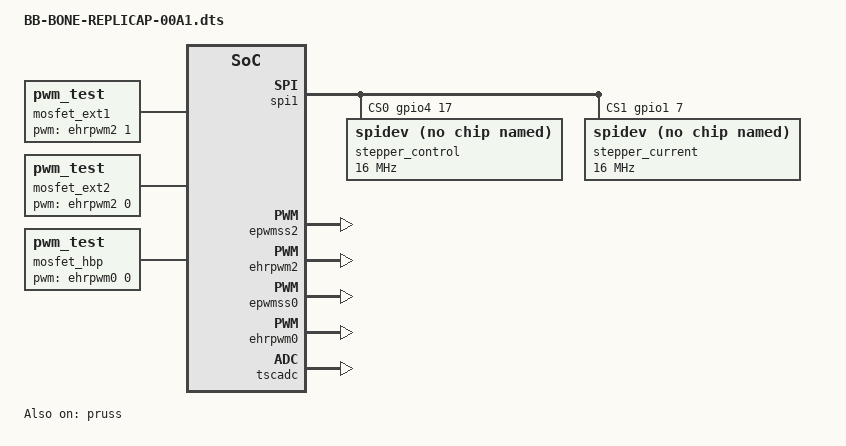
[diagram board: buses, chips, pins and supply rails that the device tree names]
/*
 * Copyright (C) 2013 Intelligent Agent AS	<elias@iagent.no>
 *
 * This program is free software; you can redistribute it and/or modify
 * it under the terms of the GNU General Public License version 2 as
 * published by the Free Software Foundation.
 */
/dts-v1/;
/plugin/;

/ {
	compatible = "ti,beaglebone", "ti,beaglebone-black";

	/* identification */
	part-number = "BB-BONE-REPLICAP";
	version = "00A1";

	fragment@0 {
		target = <&am33xx_pinmux>;
		__overlay__ {
			// 	  From Cameon.net
			//    Bit 5: 1 - Input, 		0 - Output
			//    Bit 4: 1 - Pull up, 		0 - Pull down
			//    Bit 3: 1 - Pull disabled, 0 - Pull enabled
			//    Bit 2: - Mode
			//    Bit 1: - Mode
			//    Bit 0: - Mode
			bone_replicape_spi1_pins: pinmux_replicape_spi1_pins {
				pinctrl-single,pins = <
					0x190 0x13	/* P9_31 = mcasp0_aclkx.spi1_sclk				 , OUTPUT_PULLUP | MODE3 */
					0x194 0x33	/* P9_29 = mcasp0_fsx.spi1_d0					 , INPUT_PULLUP  | MODE3 */
					0x198 0x13	/* P9_30 = mcasp0_axr0.spi1_d1					 , OUTPUT_PULLUP | MODE3 */
					0x19c 0x13	/* P9_28 = mcasp0_ahclkr.spi1_cs0				 , OUTPUT_PULLUP | MODE3 */
					0x164 0x12  /* P9_42 = GPIO0_7 =  eCAP0_in_PWM0_out.gpio0[7] , OUTPUT_PULLUP | MODE2 */
				>;
			};
			pwm_mosfet_ext1_pins: pinmux_pwm_mosfet_ext1_pins {
				pinctrl-single,pins = <
					0x024  0x4		/* P8_13 = gpmc_ad9  = ehrpwm2B = Heater_ext1 | MODE 4 */
				>;
			};
			pwm_mosfet_ext2_pins: pinmux_pwm_mosfet_ext2_pins {
				pinctrl-single,pins = <
					0x020  0x4      /* P8_19 = gpmc_ad8  = ehrpwm2A = Heater_ext2 | MODE 4 */
				>;
			};
			pruicss_stepper_pins: pinmux_pruicss_stepper_pins{
				pinctrl-single,pins = <
					0x018 0x07 /* P8_3  = DIR_EXT_2  = GPIO1_6    gpmc_ad6.gpio1[6]      	*/
					0x01C 0x07 /* P8_4  = DIR_EXT_1  = GPIO1_7    gpmc_ad7.gpio1[7]      	*/
					0x008 0x07 /* P8_5  = DIR_Z   	 = GPIO1_2    gpmc_ad2.gpio1[2]      	*/
					0x034 0x07 /* P8_11 = DIR_X   	 = GPIO1_13   gpmc_ad13.gpio1[13]    	*/
					0x030 0x07 /* P8_12 = STEP_X  	 = GPIO1_12   gpmc_ad12.gpio1[12]    	*/
					0x038 0x07 /* P8_16 = STEP_EXT_2 = GPIO1_14   gpmc_ad14.gpio1[14]    	*/
					0x084 0x07 /* P8_20 = STEP_Y	 = GPIO1_31   gpmc_csn2.gpio1[31]    	*/
					0x080 0x07 /* P8_21 = DIR_Y		 = GPIO1_30   gpmc_csn1.gpio1[30]    	*/
					0x004 0x07 /* P8_24 = STEP_Z 	 = GPIO1_1    gpmc_ad1 .gpio1[1]	 	*/
					0x1AC 0x07 /* P9_25	= STEP_EXT_1 = GPIO3_21	  mcasp0_ahclkx.gpio3[21]	*/
				>;
			};

			pwm_mosfet_hbp_pins: pinmux_pwm_mosfet_hbp_pins {
				pinctrl-single,pins = <
					0x150  0x3		/* P9_14 = spi0_sclk = ehrpwm0A = Heater_HBP  | MODE 3 */
				>;
			};

			pruicss_fault_pins: pinmux_pruicss_fault_pins{
				pinctrl-single,pins = <
					0x094 0x37 // P8_8  = FAULT_EXT_2 = GPIO2_2    gpmc_oen_ren.gpio2[3]
					0x098 0x37 // P8_10 = FAULT_X     = GPIO2_4    gpmc_wen.gpio2[4]
				>;
			};
		};
	};

	fragment@1 {
		target = <&spi1>;
		__overlay__ {
			#address-cells 	= <1>;
			#size-cells 	= <0>;
			status			= "okay";
			pinctrl-names	= "default";
			pinctrl-0		= <&bone_replicape_spi1_pins>;
			cs-gpios 		= <&gpio4 17 0>, <&gpio1 7 0>;

			stepper_control{
				#address-cells 	  = <1>;
				#size-cells 	  = <0>;
				compatible 		  = "spidev";
				reg 			  = <0>;
				spi-max-frequency = <16000000>;
				spi-cpha;		  // Stepper control has mode 1 (CPOL = 0, CPHA = 1)
			};

			stepper_current{
				#address-cells 	  = <1>;
				#size-cells 	  = <0>;
				compatible 		  = "spidev";
				reg 			  = <1>;
				spi-max-frequency = <16000000>;
								  // Stepper current has mode 0 (CPOL = 0, CPHA = 0)
			};
		};
	};
	fragment@2 {
		target = <&epwmss2>;
		__overlay__ {
			status = "okay";
		};
	};

	fragment@3 {
		target = <&ehrpwm2>;
		__overlay__ {
			status = "okay";
		};
	};

	fragment@4 {
		target = <&epwmss0>;
		__overlay__ {
			status = "okay";
		};
	};

	fragment@5 {
		target = <&ehrpwm0>;
		__overlay__ {
			status = "okay";
		};
	};

	fragment@6{
		target = <&pruss>;
		__overlay__{
			status = "okay";
			pinctrl-names = "default";
			pinctrl-0 	  = <&pruicss_stepper_pins>;

			stepper_x{
				pin-names 	= "Replic:pru-step_x", "Replic:pru-dir_x";
				gpios 		= <&gpio2 12 0
							   &gpio2 13 0>;
			};
			stepper_y{
				pin-names 	= "Replic:pru-step_y", "Replic:pru-dir_y";
				gpios 		=<&gpio2 31 0
							  &gpio2 30 0>;
			};
			stepper_z{
				pin-names 	= "Replic:pru-step_z", "Replic:pru-dir_z";
				gpios 		= <&gpio2 1 0
							   &gpio2 2 0>;
			};
			stepper_ext_1{
				pin-names 	= "Replic:pru-step_ext_1", "Replic:pru-dir_ext_1";
				gpios 		= <&gpio4 21 0
							   &gpio2 7 0>;
			};
			stepper_ext_2{
				pin-names 	= "Replic:pru-step_ext_2", "Replic:pru-dir_ext_2";
				gpios 		= <&gpio2 14 0
							   &gpio2 6 0>;
			};
		};
	};

	fragment@7 {
		target = <&ocp>;
		__overlay__ {
			#address-cells = <1>;
			#size-cells = <1>;

			mosfet_ext1 {
				compatible      = "pwm_test";
				pinctrl-names   = "default";
				pinctrl-0       = <&pwm_mosfet_ext1_pins>;
				pwms 			= <&ehrpwm2 1 500000 1>;
				pwm-names 		= "Mosfet_Ext_1";
				enabled			= <1>;
				polarity		= <1>; // 0 = normal, 1 = inverse
				duty			= <0>;
				status 			= "okay";
			};
			mosfet_ext2 {
				compatible      = "pwm_test";
				pinctrl-names   = "default";
				pinctrl-0       = <&pwm_mosfet_ext2_pins>;
				pwms 			= <&ehrpwm2 0 500000 1>;
				pwm-names 		= "Mosfet_Ext_2";
				enabled			= <1>;
				duty			= <0>;
				status 			= "okay";
			};
			mosfet_hbp {
				compatible      = "pwm_test";
				pinctrl-names   = "default";
				pinctrl-0       = <&pwm_mosfet_hbp_pins>;
				pwms 			= <&ehrpwm0 0 500000 1>;
				pwm-names 		= "Mosfet_HBP";
				enabled			= <1>;
				duty			= <0>;
				status 			= "okay";
			};

			tscadc {
				compatible = "ti,ti-tscadc";
				reg = <0x44e0d000 0x1000>;

				interrupt-parent = <&intc>;
				interrupts = <16>;
				ti,hwmods = "adc_tsc";
				status = "okay";

				tsc {
					ti,wires = <4>;
				};
				adc {
					ti,adc-channels = <4>;
				};
			};

			thermistors{
				compatible = "bone-iio-helper";
				vsense-name  = "AIN4", "AIN5", "AIN6", "AIN7";
				vsense-scale = <100     100     100     100 >;
				status = "okay";
			};
		};
	};

};
